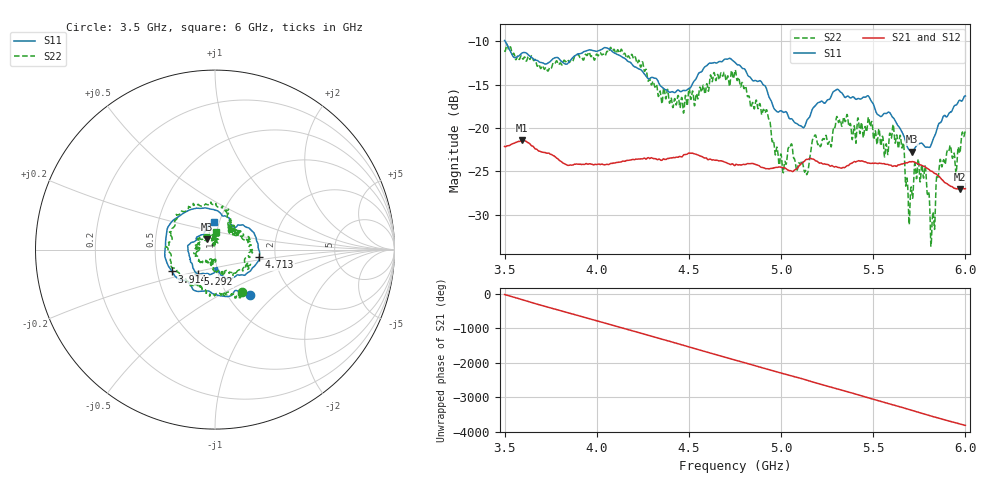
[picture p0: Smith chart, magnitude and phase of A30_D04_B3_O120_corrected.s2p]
! Created with skrf 1.9.0 (http://scikit-rf.org).
# Hz S RI R 50.0
!freq ReS11 ImS11 ReS21 ImS21 ReS12 ImS12 ReS22 ImS22
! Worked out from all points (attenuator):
!   1601 points, 3.5 GHz to 6 GHz, reference 50 ohm
!   highest |S21| = -21.42 dB at 3.595 GHz (marker M1); lowest = -27.0 dB at 5.97 GHz (marker M2)
!   lowest |S11| = -22.7 dB at 5.709 GHz (marker M3), VSWR 1.16, Z = 45.4 + j5.26 ohm
!   |S11| at or under -10 dB: 3.503 GHz to end of sweep
!   |S22| runs from -33.6 to -10.4 dB; largest |S21 - S12| = 0.00099
!   S11 on the Smith chart (normalised r, x): 3.5 GHz: 1.26, -0.71; 3.914 GHz: 0.60, -0.16; 4.713 GHz: 1.65, -0.15; 5.292 GHz: 0.80, -0.22; 6 GHz: 0.95, +0.30
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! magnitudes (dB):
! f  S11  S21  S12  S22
! 3.5 GHz  -9.9  -22.1  -22.1  -11.1
! 3.595 GHz  -11.4  -21.4  -21.4  -11.9
! 3.914 GHz  -11.4  -24.2  -24.1  -11.8
! 3.917 GHz  -11.4  -24.2  -24.1  -11.8
! 4.141 GHz  -11.9  -23.8  -23.8  -11.3
! 4.334 GHz  -14.7  -23.6  -23.5  -16.4
! 4.713 GHz  -12.0  -24.1  -24.0  -14.1
! 4.75 GHz  -12.4  -24.3  -24.2  -13.4
! 4.927 GHz  -15.9  -24.7  -24.6  -18.3
! 5.002 GHz  -18.0  -24.5  -24.5  -23.2
! 5.136 GHz  -19.3  -23.6  -23.5  -25.1
! 5.167 GHz  -18.0  -23.5  -23.5  -21.8
! 5.292 GHz  -15.7  -24.5  -24.4  -19.9
! 5.584 GHz  -18.2  -24.2  -24.2  -21.7
! 5.655 GHz  -20.4  -24.1  -24.1  -22.2
! 5.686 GHz  -22.2  -24.0  -24.0  -26.3
! 5.709 GHz  -22.7  -23.9  -23.8  -27.4
! 5.773 GHz  -22.0  -24.4  -24.3  -25.8
! 5.822 GHz  -21.5  -25.0  -24.9  -30.1
! 5.856 GHz  -19.5  -25.6  -25.5  -24.9
! 5.97 GHz  -16.8  -27.0  -27.0  -22.9
! 6 GHz  -16.3  -27.0  -26.9  -20.3
